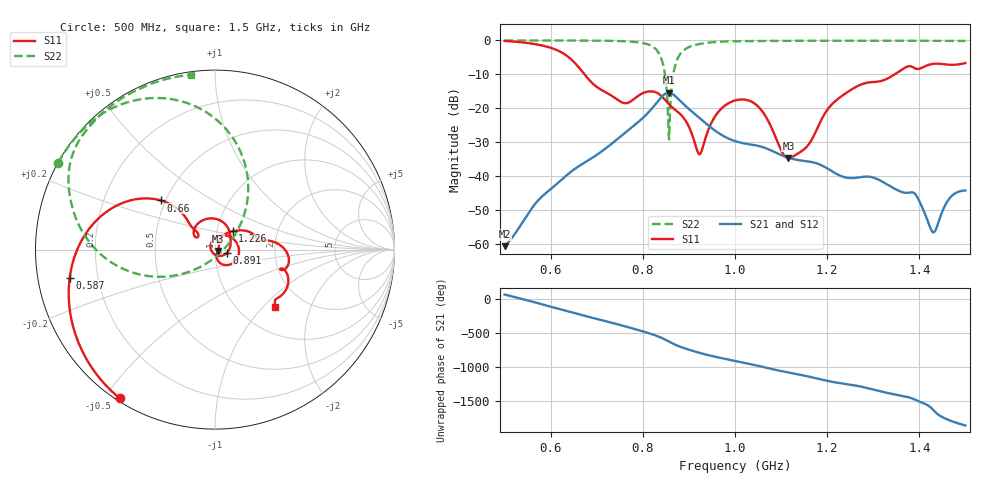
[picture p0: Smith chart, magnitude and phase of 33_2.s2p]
! TOUCHSTONE file generated by CST MICROWAVE STUDIO
! Date and time: Fri Oct  2 16:19:48 2020
! Project name: Scenario_1_Free_Space_out_of_line.cst
! Parameters = {Lambda=346.42; Step_1=17.321; dy1=-207.272; dx1=346; L_HA=400; MT=2.54; Rad_Dielectric=30; Rad_Lower=7.3; Rad_Upper=30; a_HA=580; a_WG=246; b_HA=500; b_WG=121; c_HA=0; c_WG=187; d_feed=85; h_feed=15; h_lower=18; h_upper=40}
! Header version: 2018
! Port assignment regex: !\s*Touchstone port\s*([0-9]+)\s*=\s*(CST MWS port|CST DS port)\s*([0-9]+|Zmin|Zmax)\s*\(\"(.*)\"\)(\s*mode\s*([0-9]+))?.*
! Touchstone port assignment:
! Touchstone port 1 = CST MWS port 1 ("")
! Touchstone port 2 = CST MWS port 2 ("")
# GHz S DB R 50
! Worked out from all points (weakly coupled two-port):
!   1003 points, 500 MHz to 1.5 GHz, reference 50 ohm
!   highest |S21| = -15.41 dB at 856 MHz (marker M1); lowest = -60.7 dB at 500 MHz (marker M2)
!   lowest |S11| = -34.7 dB at 1.116 GHz (marker M3), VSWR 1.04, Z = 51.7 - j0.861 ohm
!   |S11| at or under -10 dB: 673.4 MHz to 1.347 GHz (673.3 MHz wide, 66.7 % of centre)
!   |S22| runs from -29.2 to 0.0 dB; largest |S21 - S12| = 1.7e-05
!   S11 on the Smith chart (normalised r, x): 500 MHz: 0.01, -0.55; 587 MHz: 0.10, -0.10; 660 MHz: 0.47, +0.31; 891 MHz: 1.14, -0.04; 1.226 GHz: 1.19, +0.25; 1.5 GHz: 1.45, -1.18
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0.5  -0.14 -122.6  -60.69 70.3  -60.69 70.3  -0.01 151.1
0.587  -1.67 -169.0  -45.34 -85.5  -45.34 -85.7  -0.02 145.1
0.66  -7.79 137.8  -37.19 142.2  -37.19 142.2  -0.04 139.0
0.667  -8.93 134.7  -36.58 129.3  -36.58 129.3  -0.04 138.3
0.757  -18.40 140.2  -27.76 -29.4  -27.76 -29.4  -0.23 125.8
0.834  -15.70 78.7  -17.72 171.4  -17.72 171.4  -3.59 83.6
0.846  -17.19 57.5  -15.98 134.6  -15.98 134.6  -8.46 60.6
0.856  -18.75 42.9  -15.41 99.5  -15.41 99.5  -27.39 -7.1
0.869  -20.32 25.2  -16.27 55.7  -16.27 55.7  -8.03 -158.1
0.891  -23.32 -16.4  -19.14 -1.9  -19.14 -1.9  -2.66 173.2
0.924  -33.55 -158.6  -22.99 -70.0  -22.99 -70.0  -1.02 156.5
0.958  -22.15 75.7  -26.73 -127.4  -26.73 -127.4  -0.46 147.5
1  -17.71 9.9  -29.69 174.1  -29.69 174.1  -0.24 140.2
1.052  -19.74 -56.8  -31.16 97.5  -31.16 97.5  -0.17 134.1
1.116  -34.70 -26.9  -34.62 2.8  -34.62 2.8  -0.11 128.3
1.167  -29.17 52.5  -35.90 -68.2  -35.90 -68.2  -0.10 124.2
1.226  -16.97 46.0  -39.75 -152.2  -39.75 -152.2  -0.08 119.6
1.334  -11.03 10.5  -42.78 56.9  -42.78 56.9  -0.09 111.5
1.391  -8.25 -17.1  -45.32 -39.0  -45.31 -38.9  -0.09 107.0
1.43  -6.91 -26.1  -56.59 173.9  -56.60 173.9  -0.11 103.9
1.465  -7.17 -38.7  -46.68 19.4  -46.68 19.4  -0.13 100.9
1.5  -6.68 -43.6  -44.26 -57.2  -44.26 -57.2  -0.14 97.9
